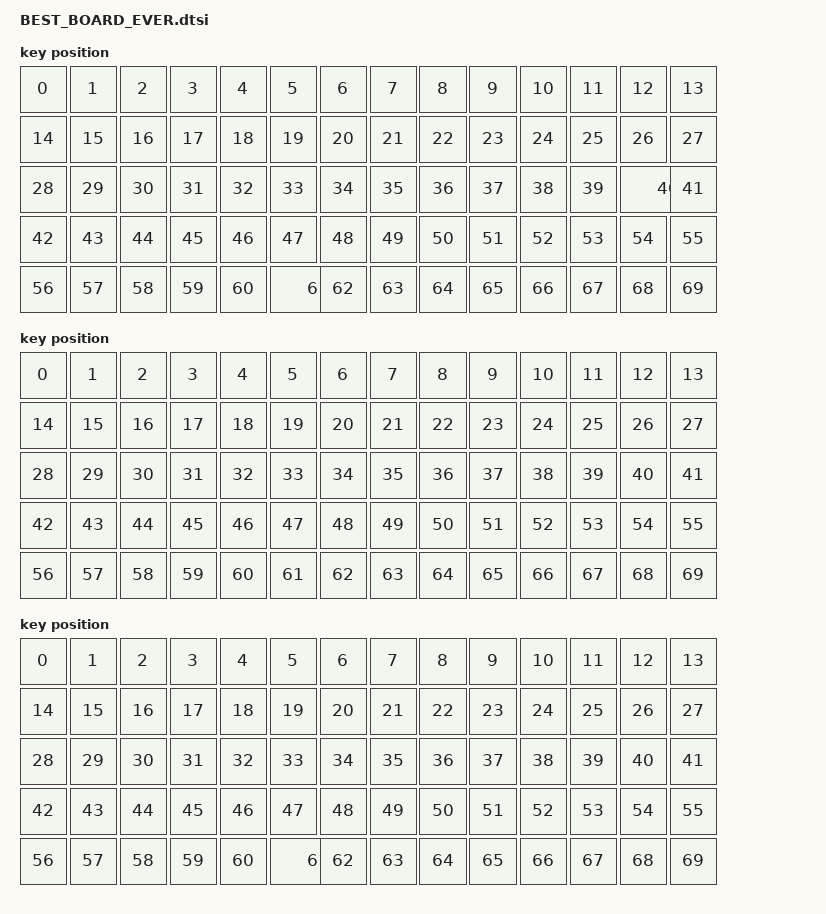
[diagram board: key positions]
#include <physical_layouts.dtsi>

/ {
    physical_layouts {
        compatible = "zmk,physical-layouts";

        b_b_e_default: default_layout {
            keys = <
                &key_physical_attrs 100 100 0 0 0 0 0 // Key 0 (R0,C0)
                &key_physical_attrs 100 100 100 0 0 0 0 // Key 1 (R0,C1)
                &key_physical_attrs 100 100 200 0 0 0 0 // Key 2 (R0,C2)
                &key_physical_attrs 100 100 300 0 0 0 0 // Key 3 (R0,C3)
                &key_physical_attrs 100 100 400 0 0 0 0 // Key 4 (R0,C4)
                &key_physical_attrs 100 100 500 0 0 0 0 // Key 5 (R0,C5)
                &key_physical_attrs 100 100 600 0 0 0 0 // Key 6 (R0,C6)
                &key_physical_attrs 100 100 700 0 0 0 0 // Key 7 (R0,C7)
                &key_physical_attrs 100 100 800 0 0 0 0 // Key 8 (R0,C8)
                &key_physical_attrs 100 100 900 0 0 0 0 // Key 9 (R0,C9)
                &key_physical_attrs 100 100 1000 0 0 0 0 // Key 10 (R0,C10)
                &key_physical_attrs 100 100 1100 0 0 0 0 // Key 11 (R0,C11)
                &key_physical_attrs 100 100 1200 0 0 0 0 // Key 12 (R0,C12)
                &key_physical_attrs 100 100 1300 0 0 0 0 // Key 13 (R0,C13)
                &key_physical_attrs 100 100 0 100 0 0 0 // Key 14 (R1,C0)
                &key_physical_attrs 100 100 100 100 0 0 0 // Key 15 (R1,C1)
                &key_physical_attrs 100 100 200 100 0 0 0 // Key 16 (R1,C2)
                &key_physical_attrs 100 100 300 100 0 0 0 // Key 17 (R1,C3)
                &key_physical_attrs 100 100 400 100 0 0 0 // Key 18 (R1,C4)
                &key_physical_attrs 100 100 500 100 0 0 0 // Key 19 (R1,C5)
                &key_physical_attrs 100 100 600 100 0 0 0 // Key 20 (R1,C6)
                &key_physical_attrs 100 100 700 100 0 0 0 // Key 21 (R1,C7)
                &key_physical_attrs 100 100 800 100 0 0 0 // Key 22 (R1,C8)
                &key_physical_attrs 100 100 900 100 0 0 0 // Key 23 (R1,C9)
                &key_physical_attrs 100 100 1000 100 0 0 0 // Key 24 (R1,C10)
                &key_physical_attrs 100 100 1100 100 0 0 0 // Key 25 (R1,C11)
                &key_physical_attrs 100 100 1200 100 0 0 0 // Key 26 (R1,C12)
                &key_physical_attrs 100 100 1300 100 0 0 0 // Key 27 (R1,C13)
                &key_physical_attrs 100 100 0 200 0 0 0 // Key 28 (R2,C0)
                &key_physical_attrs 100 100 100 200 0 0 0 // Key 29 (R2,C1)
                &key_physical_attrs 100 100 200 200 0 0 0 // Key 30 (R2,C2)
                &key_physical_attrs 100 100 300 200 0 0 0 // Key 31 (R2,C3)
                &key_physical_attrs 100 100 400 200 0 0 0 // Key 32 (R2,C4)
                &key_physical_attrs 100 100 500 200 0 0 0 // Key 33 (R2,C5)
                &key_physical_attrs 100 100 600 200 0 0 0 // Key 34 (R2,C6)
                &key_physical_attrs 100 100 700 200 0 0 0 // Key 35 (R2,C7)
                &key_physical_attrs 100 100 800 200 0 0 0 // Key 36 (R2,C8)
                &key_physical_attrs 100 100 900 200 0 0 0 // Key 37 (R2,C9)
                &key_physical_attrs 100 100 1000 200 0 0 0 // Key 38 (R2,C10)
                &key_physical_attrs 100 100 1100 200 0 0 0 // Key 39 (R2,C11)
                &key_physical_attrs 200 100 1200 200 0 0 0 // Key 40 (R2,C12)
                &key_physical_attrs 100 100 1300 200 0 0 0 // Key 41 (R2,C13)
                &key_physical_attrs 100 100 0 300 0 0 0 // Key 42 (R3,C0)
                &key_physical_attrs 100 100 100 300 0 0 0 // Key 43 (R3,C1)
                &key_physical_attrs 100 100 200 300 0 0 0 // Key 44 (R3,C2)
                &key_physical_attrs 100 100 300 300 0 0 0 // Key 45 (R3,C3)
                &key_physical_attrs 100 100 400 300 0 0 0 // Key 46 (R3,C4)
                &key_physical_attrs 100 100 500 300 0 0 0 // Key 47 (R3,C5)
                &key_physical_attrs 100 100 600 300 0 0 0 // Key 48 (R3,C6)
                &key_physical_attrs 100 100 700 300 0 0 0 // Key 49 (R3,C7)
                &key_physical_attrs 100 100 800 300 0 0 0 // Key 50 (R3,C8)
                &key_physical_attrs 100 100 900 300 0 0 0 // Key 51 (R3,C9)
                &key_physical_attrs 100 100 1000 300 0 0 0 // Key 52 (R3,C10)
                &key_physical_attrs 100 100 1100 300 0 0 0 // Key 53 (R3,C11)
                &key_physical_attrs 100 100 1200 300 0 0 0 // Key 54 (R3,C12)
                &key_physical_attrs 100 100 1300 300 0 0 0 // Key 55 (R3,C13)
                &key_physical_attrs 100 100 0 400 0 0 0 // Key 56 (R4,C0)
                &key_physical_attrs 100 100 100 400 0 0 0 // Key 57 (R4,C1)
                &key_physical_attrs 100 100 200 400 0 0 0 // Key 58 (R4,C2)
                &key_physical_attrs 100 100 300 400 0 0 0 // Key 59 (R4,C3)
                &key_physical_attrs 100 100 400 400 0 0 0 // Key 60 (R4,C4)
                &key_physical_attrs 200 100 500 400 0 0 0 // Key 61 (R4,C5)
                &key_physical_attrs 100 100 600 400 0 0 0 // Key 62 (R4,C6)
                &key_physical_attrs 100 100 700 400 0 0 0 // Key 63 (R4,C7)
                &key_physical_attrs 100 100 800 400 0 0 0 // Key 64 (R4,C8)
                &key_physical_attrs 100 100 900 400 0 0 0 // Key 65 (R4,C9)
                &key_physical_attrs 100 100 1000 400 0 0 0 // Key 66 (R4,C10)
                &key_physical_attrs 100 100 1100 400 0 0 0 // Key 67 (R4,C11)
                &key_physical_attrs 100 100 1200 400 0 0 0 // Key 68 (R4,C12)
                &key_physical_attrs 100 100 1300 400 0 0 0 // Key 69 (R4,C13)
            >;
        };

        b_b_e_full_grid: full_grid_layout {
            keys = <
                &key_physical_attrs 100 100 0 0 0 0 0 // Key 0 (R0,C0)
                &key_physical_attrs 100 100 100 0 0 0 0 // Key 1 (R0,C1)
                &key_physical_attrs 100 100 200 0 0 0 0 // Key 2 (R0,C2)
                &key_physical_attrs 100 100 300 0 0 0 0 // Key 3 (R0,C3)
                &key_physical_attrs 100 100 400 0 0 0 0 // Key 4 (R0,C4)
                &key_physical_attrs 100 100 500 0 0 0 0 // Key 5 (R0,C5)
                &key_physical_attrs 100 100 600 0 0 0 0 // Key 6 (R0,C6)
                &key_physical_attrs 100 100 700 0 0 0 0 // Key 7 (R0,C7)
                &key_physical_attrs 100 100 800 0 0 0 0 // Key 8 (R0,C8)
                &key_physical_attrs 100 100 900 0 0 0 0 // Key 9 (R0,C9)
                &key_physical_attrs 100 100 1000 0 0 0 0 // Key 10 (R0,C10)
                &key_physical_attrs 100 100 1100 0 0 0 0 // Key 11 (R0,C11)
                &key_physical_attrs 100 100 1200 0 0 0 0 // Key 12 (R0,C12)
                &key_physical_attrs 100 100 1300 0 0 0 0 // Key 13 (R0,C13)
                &key_physical_attrs 100 100 0 100 0 0 0 // Key 14 (R1,C0)
                &key_physical_attrs 100 100 100 100 0 0 0 // Key 15 (R1,C1)
                &key_physical_attrs 100 100 200 100 0 0 0 // Key 16 (R1,C2)
                &key_physical_attrs 100 100 300 100 0 0 0 // Key 17 (R1,C3)
                &key_physical_attrs 100 100 400 100 0 0 0 // Key 18 (R1,C4)
                &key_physical_attrs 100 100 500 100 0 0 0 // Key 19 (R1,C5)
                &key_physical_attrs 100 100 600 100 0 0 0 // Key 20 (R1,C6)
                &key_physical_attrs 100 100 700 100 0 0 0 // Key 21 (R1,C7)
                &key_physical_attrs 100 100 800 100 0 0 0 // Key 22 (R1,C8)
                &key_physical_attrs 100 100 900 100 0 0 0 // Key 23 (R1,C9)
                &key_physical_attrs 100 100 1000 100 0 0 0 // Key 24 (R1,C10)
                &key_physical_attrs 100 100 1100 100 0 0 0 // Key 25 (R1,C11)
                &key_physical_attrs 100 100 1200 100 0 0 0 // Key 26 (R1,C12)
                &key_physical_attrs 100 100 1300 100 0 0 0 // Key 27 (R1,C13)
                &key_physical_attrs 100 100 0 200 0 0 0 // Key 28 (R2,C0)
                &key_physical_attrs 100 100 100 200 0 0 0 // Key 29 (R2,C1)
                &key_physical_attrs 100 100 200 200 0 0 0 // Key 30 (R2,C2)
                &key_physical_attrs 100 100 300 200 0 0 0 // Key 31 (R2,C3)
                &key_physical_attrs 100 100 400 200 0 0 0 // Key 32 (R2,C4)
                &key_physical_attrs 100 100 500 200 0 0 0 // Key 33 (R2,C5)
                &key_physical_attrs 100 100 600 200 0 0 0 // Key 34 (R2,C6)
                &key_physical_attrs 100 100 700 200 0 0 0 // Key 35 (R2,C7)
                &key_physical_attrs 100 100 800 200 0 0 0 // Key 36 (R2,C8)
                &key_physical_attrs 100 100 900 200 0 0 0 // Key 37 (R2,C9)
                &key_physical_attrs 100 100 1000 200 0 0 0 // Key 38 (R2,C10)
                &key_physical_attrs 100 100 1100 200 0 0 0 // Key 39 (R2,C11)
                &key_physical_attrs 100 100 1200 200 0 0 0 // Key 40 (R2,C12)
                &key_physical_attrs 100 100 1300 200 0 0 0 // Key 41 (R2,C13)
                &key_physical_attrs 100 100 0 300 0 0 0 // Key 42 (R3,C0)
                &key_physical_attrs 100 100 100 300 0 0 0 // Key 43 (R3,C1)
                &key_physical_attrs 100 100 200 300 0 0 0 // Key 44 (R3,C2)
                &key_physical_attrs 100 100 300 300 0 0 0 // Key 45 (R3,C3)
                &key_physical_attrs 100 100 400 300 0 0 0 // Key 46 (R3,C4)
                &key_physical_attrs 100 100 500 300 0 0 0 // Key 47 (R3,C5)
                &key_physical_attrs 100 100 600 300 0 0 0 // Key 48 (R3,C6)
                &key_physical_attrs 100 100 700 300 0 0 0 // Key 49 (R3,C7)
                &key_physical_attrs 100 100 800 300 0 0 0 // Key 50 (R3,C8)
                &key_physical_attrs 100 100 900 300 0 0 0 // Key 51 (R3,C9)
                &key_physical_attrs 100 100 1000 300 0 0 0 // Key 52 (R3,C10)
                &key_physical_attrs 100 100 1100 300 0 0 0 // Key 53 (R3,C11)
                &key_physical_attrs 100 100 1200 300 0 0 0 // Key 54 (R3,C12)
                &key_physical_attrs 100 100 1300 300 0 0 0 // Key 55 (R3,C13)
                &key_physical_attrs 100 100 0 400 0 0 0 // Key 56 (R4,C0)
                &key_physical_attrs 100 100 100 400 0 0 0 // Key 57 (R4,C1)
                &key_physical_attrs 100 100 200 400 0 0 0 // Key 58 (R4,C2)
                &key_physical_attrs 100 100 300 400 0 0 0 // Key 59 (R4,C3)
                &key_physical_attrs 100 100 400 400 0 0 0 // Key 60 (R4,C4)
                &key_physical_attrs 100 100 500 400 0 0 0 // Key 61 (R4,C5)
                &key_physical_attrs 100 100 600 400 0 0 0 // Key 62 (R4,C6)
                &key_physical_attrs 100 100 700 400 0 0 0 // Key 63 (R4,C7)
                &key_physical_attrs 100 100 800 400 0 0 0 // Key 64 (R4,C8)
                &key_physical_attrs 100 100 900 400 0 0 0 // Key 65 (R4,C9)
                &key_physical_attrs 100 100 1000 400 0 0 0 // Key 66 (R4,C10)
                &key_physical_attrs 100 100 1100 400 0 0 0 // Key 67 (R4,C11)
                &key_physical_attrs 100 100 1200 400 0 0 0 // Key 68 (R4,C12)
                &key_physical_attrs 100 100 1300 400 0 0 0 // Key 69 (R4,C13)
            >;
        };

        b_b_e_wide_space: wide_space_layout {
            keys = <
                &key_physical_attrs 100 100 0 0 0 0 0 // Key 0 (R0,C0)
                &key_physical_attrs 100 100 100 0 0 0 0 // Key 1 (R0,C1)
                &key_physical_attrs 100 100 200 0 0 0 0 // Key 2 (R0,C2)
                &key_physical_attrs 100 100 300 0 0 0 0 // Key 3 (R0,C3)
                &key_physical_attrs 100 100 400 0 0 0 0 // Key 4 (R0,C4)
                &key_physical_attrs 100 100 500 0 0 0 0 // Key 5 (R0,C5)
                &key_physical_attrs 100 100 600 0 0 0 0 // Key 6 (R0,C6)
                &key_physical_attrs 100 100 700 0 0 0 0 // Key 7 (R0,C7)
                &key_physical_attrs 100 100 800 0 0 0 0 // Key 8 (R0,C8)
                &key_physical_attrs 100 100 900 0 0 0 0 // Key 9 (R0,C9)
                &key_physical_attrs 100 100 1000 0 0 0 0 // Key 10 (R0,C10)
                &key_physical_attrs 100 100 1100 0 0 0 0 // Key 11 (R0,C11)
                &key_physical_attrs 100 100 1200 0 0 0 0 // Key 12 (R0,C12)
                &key_physical_attrs 100 100 1300 0 0 0 0 // Key 13 (R0,C13)
                &key_physical_attrs 100 100 0 100 0 0 0 // Key 14 (R1,C0)
                &key_physical_attrs 100 100 100 100 0 0 0 // Key 15 (R1,C1)
                &key_physical_attrs 100 100 200 100 0 0 0 // Key 16 (R1,C2)
                &key_physical_attrs 100 100 300 100 0 0 0 // Key 17 (R1,C3)
                &key_physical_attrs 100 100 400 100 0 0 0 // Key 18 (R1,C4)
                &key_physical_attrs 100 100 500 100 0 0 0 // Key 19 (R1,C5)
                &key_physical_attrs 100 100 600 100 0 0 0 // Key 20 (R1,C6)
                &key_physical_attrs 100 100 700 100 0 0 0 // Key 21 (R1,C7)
                &key_physical_attrs 100 100 800 100 0 0 0 // Key 22 (R1,C8)
                &key_physical_attrs 100 100 900 100 0 0 0 // Key 23 (R1,C9)
                &key_physical_attrs 100 100 1000 100 0 0 0 // Key 24 (R1,C10)
                &key_physical_attrs 100 100 1100 100 0 0 0 // Key 25 (R1,C11)
                &key_physical_attrs 100 100 1200 100 0 0 0 // Key 26 (R1,C12)
                &key_physical_attrs 100 100 1300 100 0 0 0 // Key 27 (R1,C13)
                &key_physical_attrs 100 100 0 200 0 0 0 // Key 28 (R2,C0)
                &key_physical_attrs 100 100 100 200 0 0 0 // Key 29 (R2,C1)
                &key_physical_attrs 100 100 200 200 0 0 0 // Key 30 (R2,C2)
                &key_physical_attrs 100 100 300 200 0 0 0 // Key 31 (R2,C3)
                &key_physical_attrs 100 100 400 200 0 0 0 // Key 32 (R2,C4)
                &key_physical_attrs 100 100 500 200 0 0 0 // Key 33 (R2,C5)
                &key_physical_attrs 100 100 600 200 0 0 0 // Key 34 (R2,C6)
                &key_physical_attrs 100 100 700 200 0 0 0 // Key 35 (R2,C7)
                &key_physical_attrs 100 100 800 200 0 0 0 // Key 36 (R2,C8)
                &key_physical_attrs 100 100 900 200 0 0 0 // Key 37 (R2,C9)
                &key_physical_attrs 100 100 1000 200 0 0 0 // Key 38 (R2,C10)
                &key_physical_attrs 100 100 1100 200 0 0 0 // Key 39 (R2,C11)
                &key_physical_attrs 100 100 1200 200 0 0 0 // Key 40 (R2,C12)
                &key_physical_attrs 100 100 1300 200 0 0 0 // Key 41 (R2,C13)
                &key_physical_attrs 100 100 0 300 0 0 0 // Key 42 (R3,C0)
                &key_physical_attrs 100 100 100 300 0 0 0 // Key 43 (R3,C1)
                &key_physical_attrs 100 100 200 300 0 0 0 // Key 44 (R3,C2)
                &key_physical_attrs 100 100 300 300 0 0 0 // Key 45 (R3,C3)
                &key_physical_attrs 100 100 400 300 0 0 0 // Key 46 (R3,C4)
                &key_physical_attrs 100 100 500 300 0 0 0 // Key 47 (R3,C5)
                &key_physical_attrs 100 100 600 300 0 0 0 // Key 48 (R3,C6)
                &key_physical_attrs 100 100 700 300 0 0 0 // Key 49 (R3,C7)
                &key_physical_attrs 100 100 800 300 0 0 0 // Key 50 (R3,C8)
                &key_physical_attrs 100 100 900 300 0 0 0 // Key 51 (R3,C9)
                &key_physical_attrs 100 100 1000 300 0 0 0 // Key 52 (R3,C10)
                &key_physical_attrs 100 100 1100 300 0 0 0 // Key 53 (R3,C11)
                &key_physical_attrs 100 100 1200 300 0 0 0 // Key 54 (R3,C12)
                &key_physical_attrs 100 100 1300 300 0 0 0 // Key 55 (R3,C13)
                &key_physical_attrs 100 100 0 400 0 0 0 // Key 56 (R4,C0)
                &key_physical_attrs 100 100 100 400 0 0 0 // Key 57 (R4,C1)
                &key_physical_attrs 100 100 200 400 0 0 0 // Key 58 (R4,C2)
                &key_physical_attrs 100 100 300 400 0 0 0 // Key 59 (R4,C3)
                &key_physical_attrs 100 100 400 400 0 0 0 // Key 60 (R4,C4)
                &key_physical_attrs 200 100 500 400 0 0 0 // Key 61 (R4,C5)
                &key_physical_attrs 100 100 600 400 0 0 0 // Key 62 (R4,C6)
                &key_physical_attrs 100 100 700 400 0 0 0 // Key 63 (R4,C7)
                &key_physical_attrs 100 100 800 400 0 0 0 // Key 64 (R4,C8)
                &key_physical_attrs 100 100 900 400 0 0 0 // Key 65 (R4,C9)
                &key_physical_attrs 100 100 1000 400 0 0 0 // Key 66 (R4,C10)
                &key_physical_attrs 100 100 1100 400 0 0 0 // Key 67 (R4,C11)
                &key_physical_attrs 100 100 1200 400 0 0 0 // Key 68 (R4,C12)
                &key_physical_attrs 100 100 1300 400 0 0 0 // Key 69 (R4,C13)
            >;
        };

        b_b_e_wide_enter: wide_enter_layout {
            keys = <
                &key_physical_attrs 100 100 0 0 0 0 0 // Key 0 (R0,C0)
                &key_physical_attrs 100 100 100 0 0 0 0 // Key 1 (R0,C1)
                &key_physical_attrs 100 100 200 0 0 0 0 // Key 2 (R0,C2)
                &key_physical_attrs 100 100 300 0 0 0 0 // Key 3 (R0,C3)
                &key_physical_attrs 100 100 400 0 0 0 0 // Key 4 (R0,C4)
                &key_physical_attrs 100 100 500 0 0 0 0 // Key 5 (R0,C5)
                &key_physical_attrs 100 100 600 0 0 0 0 // Key 6 (R0,C6)
                &key_physical_attrs 100 100 700 0 0 0 0 // Key 7 (R0,C7)
                &key_physical_attrs 100 100 800 0 0 0 0 // Key 8 (R0,C8)
                &key_physical_attrs 100 100 900 0 0 0 0 // Key 9 (R0,C9)
                &key_physical_attrs 100 100 1000 0 0 0 0 // Key 10 (R0,C10)
                &key_physical_attrs 100 100 1100 0 0 0 0 // Key 11 (R0,C11)
                &key_physical_attrs 100 100 1200 0 0 0 0 // Key 12 (R0,C12)
                &key_physical_attrs 100 100 1300 0 0 0 0 // Key 13 (R0,C13)
                &key_physical_attrs 100 100 0 100 0 0 0 // Key 14 (R1,C0)
                &key_physical_attrs 100 100 100 100 0 0 0 // Key 15 (R1,C1)
                &key_physical_attrs 100 100 200 100 0 0 0 // Key 16 (R1,C2)
                &key_physical_attrs 100 100 300 100 0 0 0 // Key 17 (R1,C3)
                &key_physical_attrs 100 100 400 100 0 0 0 // Key 18 (R1,C4)
                &key_physical_attrs 100 100 500 100 0 0 0 // Key 19 (R1,C5)
                &key_physical_attrs 100 100 600 100 0 0 0 // Key 20 (R1,C6)
                &key_physical_attrs 100 100 700 100 0 0 0 // Key 21 (R1,C7)
                &key_physical_attrs 100 100 800 100 0 0 0 // Key 22 (R1,C8)
                &key_physical_attrs 100 100 900 100 0 0 0 // Key 23 (R1,C9)
                &key_physical_attrs 100 100 1000 100 0 0 0 // Key 24 (R1,C10)
                &key_physical_attrs 100 100 1100 100 0 0 0 // Key 25 (R1,C11)
                &key_physical_attrs 100 100 1200 100 0 0 0 // Key 26 (R1,C12)
                &key_physical_attrs 100 100 1300 100 0 0 0 // Key 27 (R1,C13)
                &key_physical_attrs 100 100 0 200 0 0 0 // Key 28 (R2,C0)
                &key_physical_attrs 100 100 100 200 0 0 0 // Key 29 (R2,C1)
                &key_physical_attrs 100 100 200 200 0 0 0 // Key 30 (R2,C2)
                &key_physical_attrs 100 100 300 200 0 0 0 // Key 31 (R2,C3)
                &key_physical_attrs 100 100 400 200 0 0 0 // Key 32 (R2,C4)
                &key_physical_attrs 100 100 500 200 0 0 0 // Key 33 (R2,C5)
                &key_physical_attrs 100 100 600 200 0 0 0 // Key 34 (R2,C6)
                &key_physical_attrs 100 100 700 200 0 0 0 // Key 35 (R2,C7)
                &key_physical_attrs 100 100 800 200 0 0 0 // Key 36 (R2,C8)
                &key_physical_attrs 100 100 900 200 0 0 0 // Key 37 (R2,C9)
                &key_physical_attrs 100 100 1000 200 0 0 0 // Key 38 (R2,C10)
                &key_physical_attrs 100 100 1100 200 0 0 0 // Key 39 (R2,C11)
                &key_physical_attrs 200 100 1200 200 0 0 0 // Key 40 (R2,C12)
                &key_physical_attrs 100 100 1300 200 0 0 0 // Key 41 (R2,C13)
                &key_physical_attrs 100 100 0 300 0 0 0 // Key 42 (R3,C0)
                &key_physical_attrs 100 100 100 300 0 0 0 // Key 43 (R3,C1)
                &key_physical_attrs 100 100 200 300 0 0 0 // Key 44 (R3,C2)
                &key_physical_attrs 100 100 300 300 0 0 0 // Key 45 (R3,C3)
                &key_physical_attrs 100 100 400 300 0 0 0 // Key 46 (R3,C4)
                &key_physical_attrs 100 100 500 300 0 0 0 // Key 47 (R3,C5)
                &key_physical_attrs 100 100 600 300 0 0 0 // Key 48 (R3,C6)
                &key_physical_attrs 100 100 700 300 0 0 0 // Key 49 (R3,C7)
                &key_physical_attrs 100 100 800 300 0 0 0 // Key 50 (R3,C8)
                &key_physical_attrs 100 100 900 300 0 0 0 // Key 51 (R3,C9)
                &key_physical_attrs 100 100 1000 300 0 0 0 // Key 52 (R3,C10)
                &key_physical_attrs 100 100 1100 300 0 0 0 // Key 53 (R3,C11)
                &key_physical_attrs 100 100 1200 300 0 0 0 // Key 54 (R3,C12)
                &key_physical_attrs 100 100 1300 300 0 0 0 // Key 55 (R3,C13)
                &key_physical_attrs 100 100 0 400 0 0 0 // Key 56 (R4,C0)
                &key_physical_attrs 100 100 100 400 0 0 0 // Key 57 (R4,C1)
                &key_physical_attrs 100 100 200 400 0 0 0 // Key 58 (R4,C2)
                &key_physical_attrs 100 100 300 400 0 0 0 // Key 59 (R4,C3)
                &key_physical_attrs 100 100 400 400 0 0 0 // Key 60 (R4,C4)
                &key_physical_attrs 100 100 500 400 0 0 0 // Key 61 (R4,C5)
                &key_physical_attrs 100 100 600 400 0 0 0 // Key 62 (R4,C6)
                &key_physical_attrs 100 100 700 400 0 0 0 // Key 63 (R4,C7)
                &key_physical_attrs 100 100 800 400 0 0 0 // Key 64 (R4,C8)
                &key_physical_attrs 100 100 900 400 0 0 0 // Key 65 (R4,C9)
                &key_physical_attrs 100 100 1000 400 0 0 0 // Key 66 (R4,C10)
                &key_physical_attrs 100 100 1100 400 0 0 0 // Key 67 (R4,C11)
                &key_physical_attrs 100 100 1200 400 0 0 0 // Key 68 (R4,C12)
                &key_physical_attrs 100 100 1300 400 0 0 0 // Key 69 (R4,C13)
            >;
        };

    };
};

